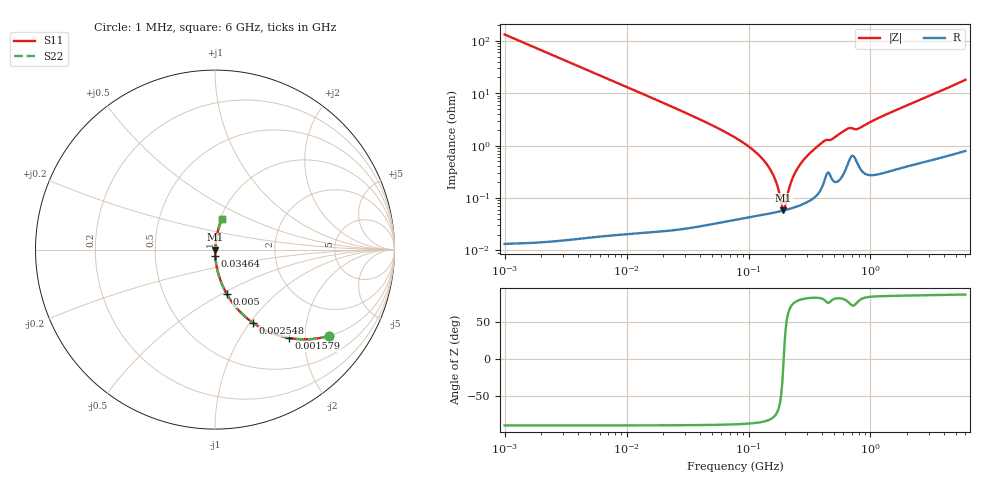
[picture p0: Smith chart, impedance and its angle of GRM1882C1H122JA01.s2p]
!Murata Part Number: GRM1882C1H122JA01
!These Parameters are Measured in Series Mode Connection
!Data Generated on Mar 30, 2021
!  o--ll--o
!Port1  Port2
!  o------o
!Operation Temp=25[degC], DC Bias Voltage=0[V]
!Freq. Start=1000[kHz] Stop=6[GHz] 401[Steps]
# Hz S RI R 50
!Freq.(Hz) S11(Real) S11(Imag) S21(Real) S21(Imag) S12(Real) S12(Imag) S22(Real) S22(Imag)
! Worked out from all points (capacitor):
!   401 points, 1 MHz to 6 GHz, reference 50 ohm
!   read as one part in series: C = 1.2 nF near 1.044 MHz
!   lowest |Z| = 58.1 mohm at 193.1 MHz (marker M1)
!   series resonance near 194.2 MHz, so ESL is about 560 pH
!   S11 on the Smith chart (normalised r, x): 1 MHz: 1.00, -2.64; 1.579 MHz: 1.00, -1.67; 2.548 MHz: 1.00, -1.04; 5 MHz: 1.00, -0.53; 34.64 MHz: 1.00, -0.07; 6 GHz: 1.02, +0.36
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1000000  0.6361 -0.4811  0.3639 0.4811  0.3639 0.4811  0.6361 -0.4811
1578894  0.4122 -0.4921  0.5878 0.4921  0.5878 0.4921  0.4122 -0.4921
2547717  0.2122 -0.4087  0.7878 0.4087  0.7878 0.4087  0.2122 -0.4087
4293785  0.0866 -0.281  0.9134 0.281  0.9134 0.281  0.0866 -0.281
4999862  0.0654 -0.2469  0.9346 0.2469  0.9346 0.2469  0.0654 -0.2469
1.843659e7  0.00524 -0.0706  0.9948 0.0706  0.9948 0.0706  0.00524 -0.0706
3.46415e7  0.00163 -0.0368  0.9984 0.0368  0.9984 0.0368  0.00163 -0.0368
7.745967e7  0.000585 -0.0143  0.9994 0.0143  0.9994 0.0143  0.000585 -0.0143
1.121107e8  0.000507 -0.0078  0.9995 0.0078  0.9995 0.0078  0.000507 -0.0078
1.424119e8  0.000512 -0.00426  0.9995 0.00426  0.9995 0.00426  0.000512 -0.00426
1.658303e8  0.000535 -0.00214  0.9995 0.00214  0.9995 0.00214  0.000535 -0.00214
1.848803e8  0.000563 -0.000665  0.9994 0.000665  0.9994 0.000665  0.000563 -0.000665
1.930997e8  0.000576 -7.57e-05  0.9994 7.57e-05  0.9994 7.57e-05  0.000576 -7.57e-05
2.016844e8  0.000592 0.000514  0.9994 -0.000514  0.9994 -0.000514  0.000592 0.000514
2.200158e8  0.000629 0.0017  0.9994 -0.0017  0.9994 -0.0017  0.000629 0.0017
2.452905e8  0.000688 0.00321  0.9993 -0.00321  0.9993 -0.00321  0.000688 0.00321
3.325952e8  0.00101 0.0078  0.999 -0.0078  0.999 -0.0078  0.00101 0.0078
4.133993e8  0.00208 0.0119  0.9979 -0.0119  0.9979 -0.0119  0.00208 0.0119
6.386712e8  0.00432 0.02  0.9957 -0.02  0.9957 -0.02  0.00432 0.02
7.938365e8  0.00463 0.0205  0.9954 -0.0205  0.9954 -0.0205  0.00463 0.0205
1.428092e9  0.00493 0.0414  0.9951 -0.0414  0.9951 -0.0414  0.00493 0.0414
6e9  0.0386 0.172  0.9614 -0.172  0.9614 -0.172  0.0386 0.172
